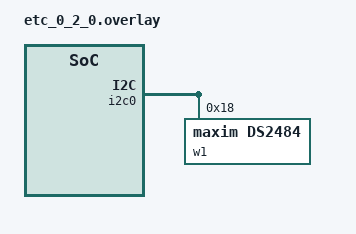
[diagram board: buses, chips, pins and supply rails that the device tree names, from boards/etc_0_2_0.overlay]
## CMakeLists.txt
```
# SPDX-License-Identifier: Apache-2.0

cmake_minimum_required(VERSION 3.20.0)
find_package(Zephyr REQUIRED HINTS $ENV{ZEPHYR_BASE})
project(tmp1826)

target_sources(app PRIVATE src/main.c)
```

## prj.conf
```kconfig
CONFIG_GPIO=y
CONFIG_LOG=y
CONFIG_CBPRINTF_FP_SUPPORT=y
CONFIG_W1=y
CONFIG_SENSOR=y
CONFIG_SENSOR_LOG_LEVEL_DBG=y
```

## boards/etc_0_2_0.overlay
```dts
&i2c0 {
	w1: w1@18 {
		compatible = "maxim,ds2484";
		reg = <0x18>;

		tmp1826 {
			compatible = "ti,tmp1826";
			family-code = <0x26>;
			resolution = <12>;
			status = "okay";
		};
	};
};
```

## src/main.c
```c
/*
 * Copyright (c) 2023 EXACT Technology
 *
 * SPDX-License-Identifier: Apache-2.0
 */

#include <zephyr/kernel.h>
#include <zephyr/device.h>
#include <zephyr/devicetree.h>
#include <zephyr/drivers/sensor.h>

/*
 * Get a device structure from a devicetree node with compatible
 * "ti,tmp1826". (If there are multiple, just pick one.)
 */
static const struct device *get_tmp1826_device(void)
{
	const struct device *const dev = DEVICE_DT_GET_ANY(ti_tmp1826);

	if (dev == NULL) {
		/* No such node, or the node does not have status "okay". */
		printk("\nError: no device found.\n");
		return NULL;
	}

	if (!device_is_ready(dev)) {
		printk("\nError: Device \"%s\" is not ready; "
		       "check the driver initialization logs for errors.\n",
		       dev->name);
		return NULL;
	}

	printk("Found device \"%s\", getting sensor data\n", dev->name);
	return dev;
}

void main(void)
{
	const struct device *dev = get_tmp1826_device();

	if (dev == NULL) {
		return;
	}

	while (1) {
		struct sensor_value temp;

		sensor_sample_fetch(dev);
		sensor_channel_get(dev, SENSOR_CHAN_AMBIENT_TEMP, &temp);

		printk("Temp: %d.%06d\n", temp.val1, temp.val2);
		k_sleep(K_MSEC(2000));
	}
}
```
